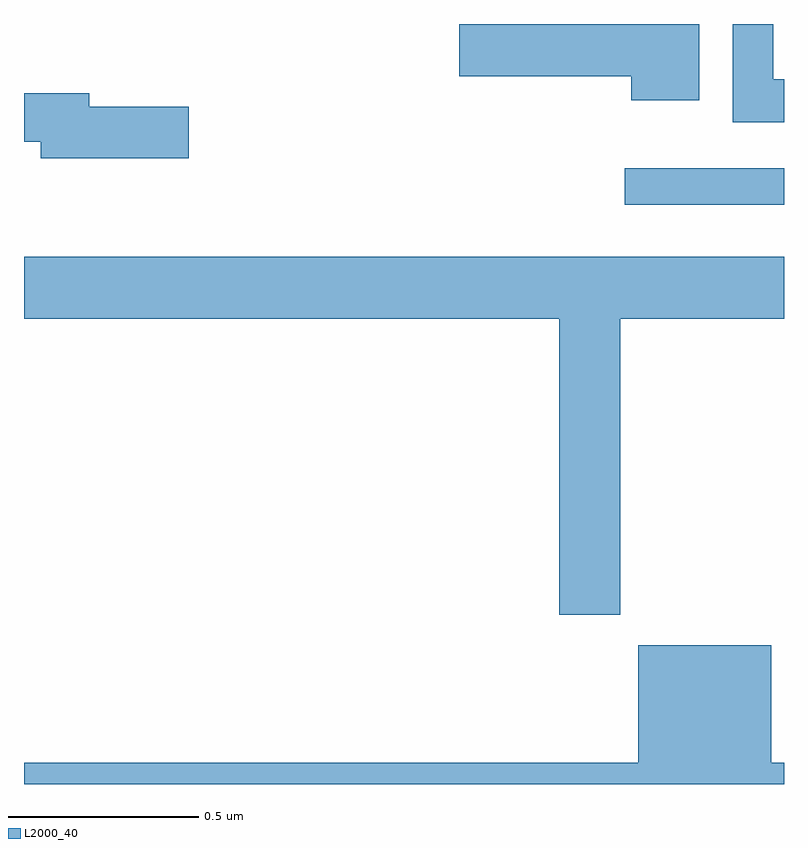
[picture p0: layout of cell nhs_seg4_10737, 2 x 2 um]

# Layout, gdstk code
import gdstk
lib = gdstk.Library(unit=1e-6, precision=1e-09)
def R(c, l, rs):  # rectangles x0, y0, x1, y1
    for r in rs: c.add(gdstk.rectangle(r[:2], r[2:], *l))
def P(c, l, *ps):  # polygons
    for p in ps: c.add(gdstk.Polygon(p, *l))
L2000_40 = (2000, 40)

nhs_seg4_10737 = lib.new_cell('nhs_seg4_10737')
R(nhs_seg4_10737, L2000_40, [(244.581,826.424,245,826.521)])
P(nhs_seg4_10737, L2000_40, [(245,826.754),(244.972,826.754),(244.972,826.9),(244.865,826.9),(244.865,826.641),(245,826.641)],
  [(244.777,826.9),(244.146,826.9),(244.146,826.762),(244.598,826.762),(244.598,826.7),(244.777,826.7)],
  [(243.433,826.682),(243.172,826.682),(243.172,826.718),(243,826.718),(243,826.59),(243.044,826.59),(243.044,826.547),(243.433,826.547)],
  [(244.569,826.124),(245,826.124),(245,826.288),(243,826.288),(243,826.124),(244.409,826.124),(244.409,825.345),(244.569,825.345)],
  [(245,824.956),(244.966,824.956),(244.966,825.265),(244.616,825.265),(244.616,824.956),(243,824.956),(243,824.9),(245,824.9)])

lib.write_gds('nhs_seg4_10737.gds')
